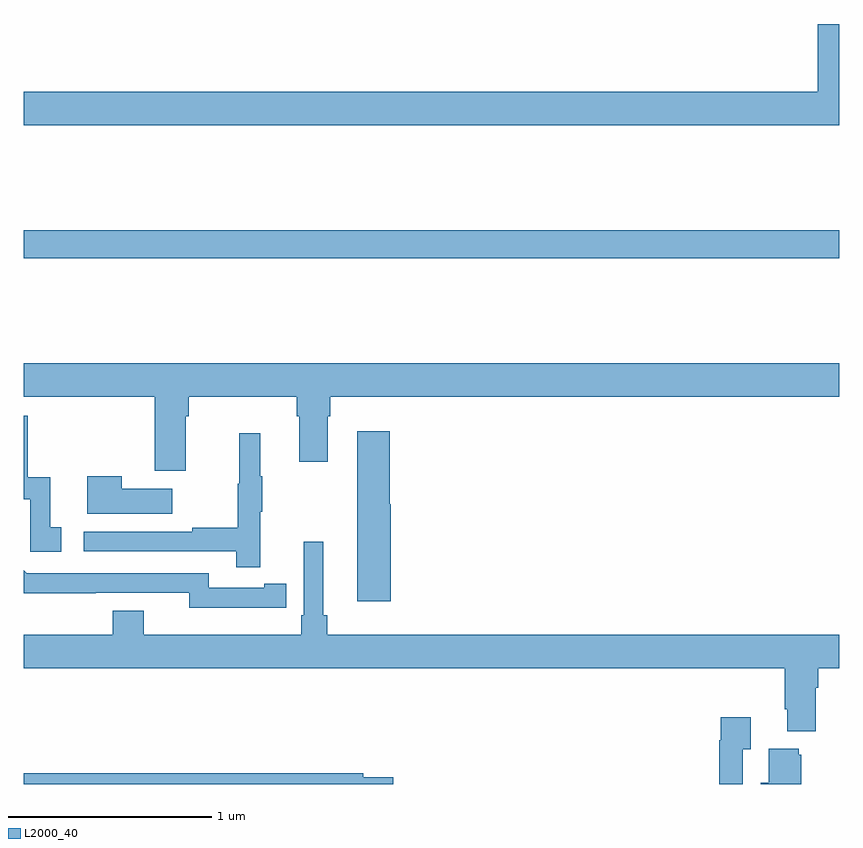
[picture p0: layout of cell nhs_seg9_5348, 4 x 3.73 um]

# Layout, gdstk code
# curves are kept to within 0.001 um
import gdstk
lib = gdstk.Library(unit=1e-6, precision=1e-09)
def R(c, l, rs):  # rectangles x0, y0, x1, y1
    for r in rs: c.add(gdstk.rectangle(r[:2], r[2:], *l))
def P(c, l, *ps):  # polygons
    for p in ps: c.add(gdstk.Polygon(p, *l))
L2000_40 = (2000, 40)

nhs_seg9_5348 = lib.new_cell('nhs_seg9_5348')
R(nhs_seg9_5348, L2000_40, [(421,1217.08,425,1217.216)])
P(nhs_seg9_5348, L2000_40, [(425,1218.229),(424.894,1218.229),(424.894,1217.896),(421,1217.896),(421,1217.732),(425,1217.732)],
  [(421.795,1216.304),(421.808,1216.304),(421.808,1216.4),(422.339,1216.4),(422.339,1216.304),(422.351,1216.304),(422.351,1216.08),(422.491,1216.08),(422.491,1216.304),(422.504,1216.304),(422.504,1216.4),(425,1216.4),(425,1216.564),(421,1216.564),(421,1216.4),(421.643,1216.4),(421.643,1216.038),(421.795,1216.038)],
  [(421.183,1215.759),(421.13,1215.759),(421.13,1216.006),(421.019,1216.006),(421.019,1216.308),(421,1216.308),(421,1215.897),(421.032,1215.897),(421.032,1215.639),(421.183,1215.639)],
  [(422.8,1215.873),(422.795,1215.873),(422.795,1216.231),(422.636,1216.231),(422.636,1215.396),(422.8,1215.396)],
  [(422.159,1215.835),(422.17,1215.835),(422.17,1216.009),(422.159,1216.009),(422.159,1216.222),(422.056,1216.222),(422.056,1215.972),(422.049,1215.972),(422.049,1215.758),(421.825,1215.758),(421.825,1215.738),(421.293,1215.738),(421.293,1215.642),(422.041,1215.642),(422.041,1215.564),(422.159,1215.564)],
  [(421.729,1215.949),(421.481,1215.949),(421.481,1216.009),(421.31,1216.009),(421.31,1215.827),(421.729,1215.827)],
  [(424.885,1214.972),(424.898,1214.972),(424.898,1215.068),(425,1215.068),(425,1215.232),(422.489,1215.232),(422.489,1215.328),(422.47,1215.328),(422.47,1215.688),(422.373,1215.688),(422.373,1215.328),(422.36,1215.328),(422.36,1215.232),(421.588,1215.232),(421.588,1215.349),(421.436,1215.349),(421.436,1215.232),(421,1215.232),(421,1215.068),(424.733,1215.068),(424.733,1214.866),(424.745,1214.866),(424.745,1214.759),(424.885,1214.759)],
  [(422.18,1215.366),(422.288,1215.366),(422.288,1215.482),(422.18,1215.482),(422.18,1215.462),(421.908,1215.462),(421.908,1215.534),(421.014,1215.534),(421,1215.548),(421,1215.437),(421.812,1215.438),(421.812,1215.365)],
  [(424.527,1214.671),(424.567,1214.671),(424.567,1214.827),(424.419,1214.827),(424.419,1214.714),(424.411,1214.714),(424.411,1214.5),(424.527,1214.5)],
  [(424.813,1214.643),(424.802,1214.643),(424.802,1214.674),(424.655,1214.674),(424.655,1214.506),(424.616,1214.506),(424.616,1214.5),(424.813,1214.5)],
  [(422.813,1214.532),(422.666,1214.532),(422.666,1214.552),(421,1214.552),(421,1214.5),(422.813,1214.5)])

lib.write_gds('nhs_seg9_5348.gds')
